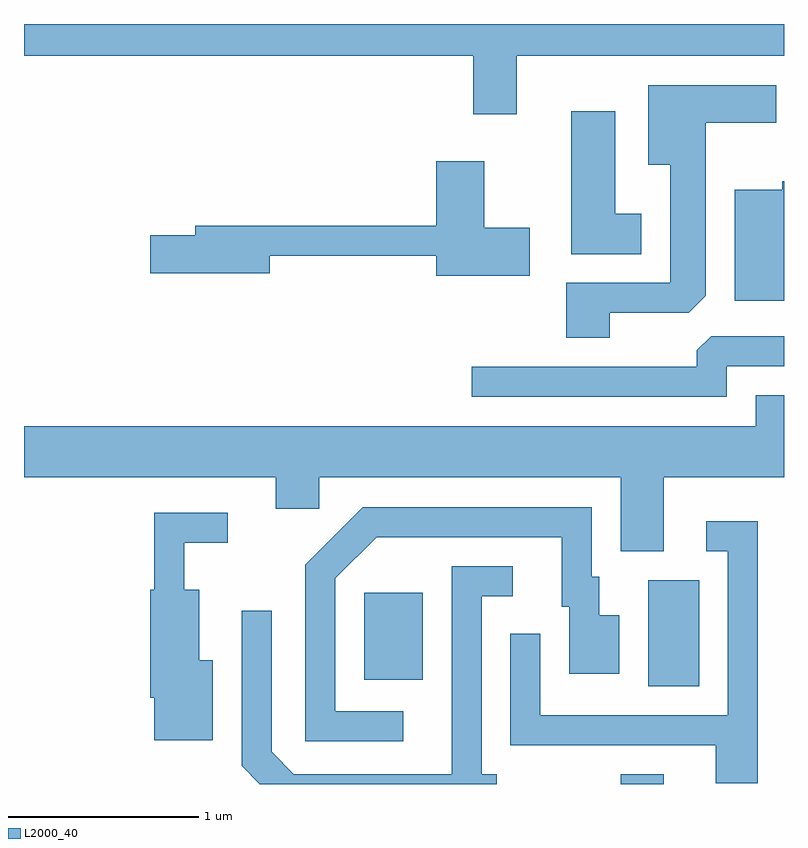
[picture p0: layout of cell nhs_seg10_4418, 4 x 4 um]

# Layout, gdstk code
import gdstk
lib = gdstk.Library(unit=1e-6, precision=1e-09)
def R(c, l, rs):  # rectangles x0, y0, x1, y1
    for r in rs: c.add(gdstk.rectangle(r[:2], r[2:], *l))
def P(c, l, *ps):  # polygons
    for p in ps: c.add(gdstk.Polygon(p, *l))
L2000_40 = (2000, 40)

nhs_seg10_4418 = lib.new_cell('nhs_seg10_4418')
R(nhs_seg10_4418, L2000_40, [(318.751,2114.522,318.979,2114.574), (318.896,2115.036,319.164,2115.594), (317.401,2115.071,317.709,2115.529)])
P(nhs_seg10_4418, L2000_40, [(318.204,2118.356),(319.611,2118.356),(319.611,2118.522),(315.611,2118.522),(315.611,2118.356),(317.976,2118.356),(317.976,2118.046),(318.204,2118.046)],
  [(318.694,2117.001),(319.109,2117.001),(319.199,2117.092),(319.199,2118.001),(319.569,2118.001),(319.569,2118.199),(318.896,2118.199),(318.896,2117.781),(319.011,2117.781),(319.011,2117.159),(318.466,2117.159),(318.466,2116.871),(318.694,2116.871)],
  [(318.859,2117.524),(318.724,2117.524),(318.724,2118.064),(318.491,2118.064),(318.491,2117.311),(318.859,2117.311)],
  [(318.274,2117.449),(318.034,2117.449),(318.034,2117.799),(317.781,2117.799),(317.781,2117.459),(316.511,2117.459),(316.511,2117.409),(316.276,2117.409),(316.276,2117.211),(316.904,2117.211),(316.904,2117.301),(317.781,2117.301),(317.781,2117.196),(318.274,2117.196)],
  [(319.611,2117.694),(319.601,2117.694),(319.601,2117.649),(319.351,2117.649),(319.351,2117.066),(319.611,2117.066)],
  [(319.309,2116.721),(319.611,2116.721),(319.611,2116.879),(319.227,2116.879),(319.151,2116.804),(319.151,2116.719),(317.968,2116.719),(317.968,2116.561),(319.309,2116.561)],
  [(318.979,2116.136),(319.611,2116.136),(319.611,2116.569),(319.461,2116.569),(319.461,2116.404),(315.611,2116.404),(315.611,2116.136),(316.936,2116.136),(316.936,2115.971),(317.164,2115.971),(317.164,2116.136),(318.751,2116.136),(318.751,2115.746),(318.979,2115.746)],
  [(317.608,2114.904),(317.249,2114.904),(317.249,2115.604),(317.467,2115.821),(318.441,2115.821),(318.441,2115.456),(318.481,2115.456),(318.481,2115.101),(318.744,2115.101),(318.744,2115.409),(318.639,2115.409),(318.639,2115.614),(318.599,2115.614),(318.599,2115.979),(317.394,2115.979),(317.091,2115.677),(317.091,2114.746),(317.608,2114.746)],
  [(316.604,2115.174),(316.534,2115.174),(316.534,2115.544),(316.454,2115.544),(316.454,2115.791),(316.683,2115.791),(316.683,2115.949),(316.296,2115.949),(316.296,2115.544),(316.276,2115.544),(316.276,2114.976),(316.296,2114.976),(316.296,2114.751),(316.604,2114.751)],
  [(319.474,2115.904),(319.203,2115.904),(319.203,2115.746),(319.316,2115.746),(319.316,2114.884),(318.329,2114.884),(318.329,2115.313),(318.171,2115.313),(318.171,2114.726),(319.251,2114.726),(319.251,2114.526),(319.474,2114.526)],
  [(318.098,2114.574),(318.019,2114.574),(318.019,2115.511),(318.183,2115.511),(318.183,2115.669),(317.861,2115.669),(317.861,2114.574),(317.032,2114.574),(316.914,2114.692),(316.914,2115.433),(316.756,2115.433),(316.756,2114.619),(316.853,2114.522),(318.098,2114.522)])

lib.write_gds('nhs_seg10_4418.gds')
